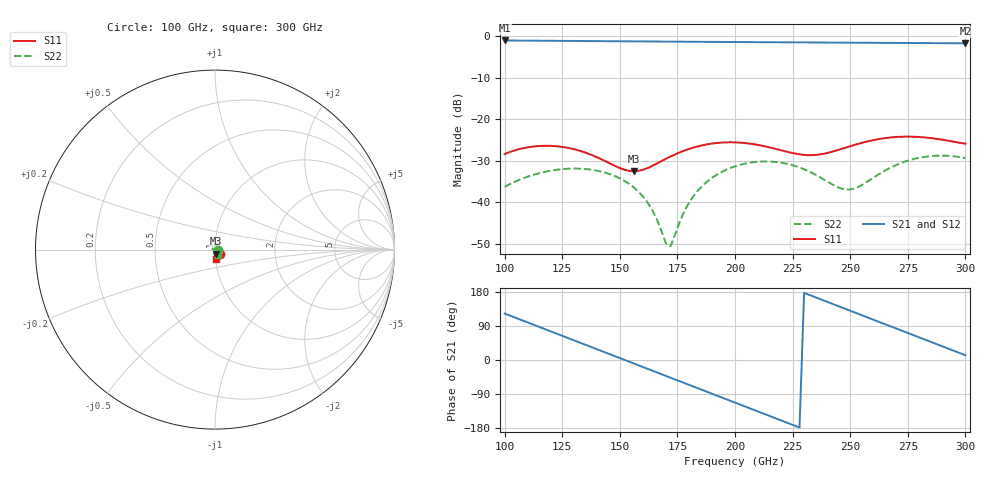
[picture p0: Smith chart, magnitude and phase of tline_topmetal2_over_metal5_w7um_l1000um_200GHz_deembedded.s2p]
! Created with skrf 2.0.1 (http://scikit-rf.org).
# GHz S DB R 50.0
!freq dBS11 angS11 dBS21 angS21 dBS12 angS12 dBS22 angS22
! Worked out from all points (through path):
!   101 points, 100 GHz to 300 GHz, reference 50 ohm
!   highest |S21| = -1.03 dB at 100 GHz (marker M1); lowest = -1.7 dB at 300 GHz (marker M2)
!   group delay of S21, straight-line fit = 6.53 ps
!   lowest |S11| = -32.5 dB at 156 GHz (marker M3), VSWR 1.05, Z = 50.6 - j2.32 ohm
!   |S11| at or under -10 dB: start of sweep to end of sweep
!   |S22| runs from -50.5 to -28.7 dB; largest |S21 - S12| = 9.7e-14
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100  -28.39 -41.8  -1.03 122.7  -1.03 122.7  -36.26 -9.7
116  -26.40 -65.8  -1.10 85.0  -1.10 85.0  -32.84 -20.9
124  -26.58 -77.6  -1.13 66.2  -1.13 66.2  -32.06 -31.3
134  -27.82 -89.5  -1.17 42.7  -1.17 42.7  -31.92 -47.3
146  -30.71 -92.3  -1.22 14.5  -1.22 14.5  -33.26 -70.4
156  -32.50 -75.1  -1.25 -9.0  -1.25 -9.0  -36.36 -93.8
162  -31.75 -61.8  -1.28 -23.1  -1.28 -23.1  -39.97 -112.2
168  -30.10 -55.1  -1.30 -37.2  -1.30 -37.2  -46.76 -147.6
170  -29.52 -54.4  -1.31 -41.9  -1.31 -41.9  -49.82 -176.5
172  -28.97 -54.3  -1.31 -46.6  -1.31 -46.6  -50.53 138.5
178  -27.54 -56.7  -1.34 -60.7  -1.34 -60.7  -42.13 70.3
182  -26.80 -59.7  -1.35 -70.1  -1.35 -70.1  -38.46 53.2
190  -25.85 -67.5  -1.38 -88.9  -1.38 -88.9  -34.10 28.3
200  -25.56 -77.9  -1.42 -112.4  -1.42 -112.4  -31.31 0.6
218  -27.17 -88.7  -1.47 -154.7  -1.47 -154.7  -30.30 -50.6
234  -28.62 -76.9  -1.52 167.7  -1.52 167.7  -33.06 -106.9
250  -26.48 -65.8  -1.57 130.0  -1.57 130.0  -36.90 153.8
260  -25.02 -69.1  -1.60 106.5  -1.60 106.5  -34.08 87.1
268  -24.35 -74.5  -1.63 87.7  -1.63 87.7  -31.50 50.4
282  -24.35 -84.4  -1.67 54.9  -1.67 54.9  -29.06 -0.9
292  -25.11 -88.0  -1.70 31.4  -1.70 31.4  -28.78 -35.6
300  -25.86 -86.5  -1.72 12.6  -1.72 12.6  -29.34 -65.0
